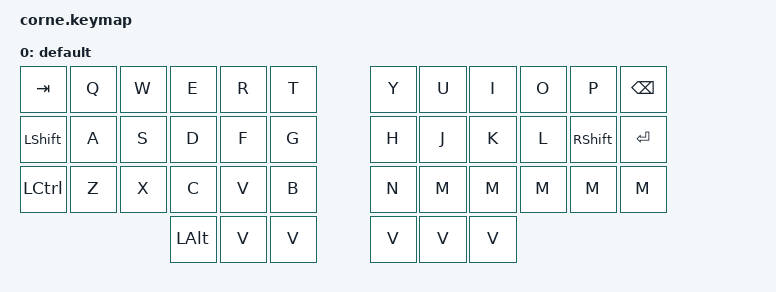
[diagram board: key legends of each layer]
#include <behaviors.dtsi>
#include <dt-bindings/zmk/keys.h>

/ {
    keymap {
        compatible = "zmk,keymap";

    default {
      bindings =
        <
        // #---------|-----|-----|------------|-----------|-----------------#----------|-----|-------------|-----|-----------------|--------------#

            &kp TAB   &kp Q &kp W &kp E        &kp R       &kp T             &kp Y      &kp U &kp I         &kp O &kp P             &kp BSPC

            &kp LSHFT &kp A &kp S &kp D        &kp F       &kp G             &kp H      &kp J &kp K         &kp L &kp RSHFT         &kp RET

            &kp LCTRL &kp Z &kp X &kp C        &kp V       &kp B             &kp N      &kp M &kp M         &kp M &kp M             &kp M

                                  &kp LEFT_ALT &kp V       &kp V             &kp V      &kp V     &kp V

        // #---------|-----|-----|------------|-----------|-----------------#----------|-----|-------------|-----|-----------------|--------------#
        >;
        };
    };
};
